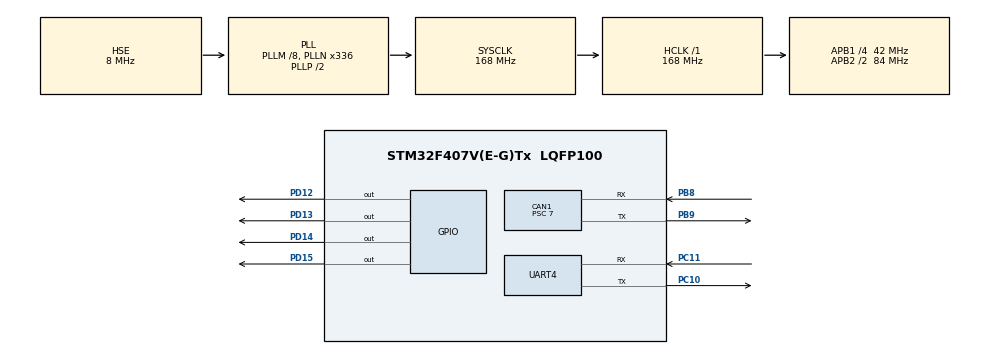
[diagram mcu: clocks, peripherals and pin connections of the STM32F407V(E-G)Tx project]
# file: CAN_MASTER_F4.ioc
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CAN1.BS1=CAN_BS1_2TQ
CAN1.BS2=CAN_BS2_3TQ
CAN1.CalculateBaudRate=999999
CAN1.CalculateTimeBit=1000
CAN1.CalculateTimeQuantum=166.66666666666669
CAN1.Prescaler=7
Mcu.Family=STM32F4
Mcu.Name=STM32F407V(E-G)Tx
Mcu.Package=LQFP100
NVIC.CAN1_RX0_IRQn=true\:0\:0\:false\:false\:true\:true\:true\:true
NVIC.PriorityGroup=NVIC_PRIORITYGROUP_4
NVIC.TIM1_BRK_TIM9_IRQn=true\:0\:0\:false\:false\:true\:true\:true\:true
NVIC.TIM1_UP_TIM10_IRQn=true\:0\:0\:false\:false\:true\:true\:true\:true
NVIC.UART4_IRQn=true\:0\:0\:false\:false\:true\:true\:true\:true
PA0-WKUP.Mode=SYS_WakeUp0
PA0-WKUP.Signal=SYS_WKUP
PA13.Mode=Serial_Wire
PA13.Signal=SYS_JTMS-SWDIO
PA14.Mode=Serial_Wire
PA14.Signal=SYS_JTCK-SWCLK
PB8.Mode=CAN_Activate
PB8.Signal=CAN1_RX
PB9.Mode=CAN_Activate
PB9.Signal=CAN1_TX
PC10.Mode=Asynchronous
PC10.Signal=UART4_TX
PC11.Mode=Asynchronous
PC11.Signal=UART4_RX
PC14-OSC32_IN.Mode=LSE-External-Oscillator
PC14-OSC32_IN.Signal=RCC_OSC32_IN
PC15-OSC32_OUT.Mode=LSE-External-Oscillator
PC15-OSC32_OUT.Signal=RCC_OSC32_OUT
PD12.Signal=GPIO_Output
PD13.Signal=GPIO_Output
PD14.Signal=GPIO_Output
PD15.Signal=GPIO_Output
PH0-OSC_IN.Mode=HSE-External-Oscillator
PH0-OSC_IN.Signal=RCC_OSC_IN
PH1-OSC_OUT.Mode=HSE-External-Oscillator
PH1-OSC_OUT.Signal=RCC_OSC_OUT
ProjectManager.HeapSize=0x200
ProjectManager.StackSize=0x400
ProjectManager.TargetToolchain=STM32CubeIDE
RCC.48MHZClocksFreq_Value=84000000
RCC.AHBFreq_Value=168000000
RCC.APB1CLKDivider=RCC_HCLK_DIV4
RCC.APB1Freq_Value=42000000
RCC.APB1TimFreq_Value=84000000
RCC.APB2CLKDivider=RCC_HCLK_DIV2
RCC.APB2Freq_Value=84000000
RCC.APB2TimFreq_Value=168000000
RCC.CortexFreq_Value=168000000
RCC.HCLKFreq_Value=168000000
RCC.HSE_VALUE=8000000
RCC.HSI_VALUE=16000000
RCC.PLLM=8
RCC.PLLN=336
RCC.PLLSourceVirtual=RCC_PLLSOURCE_HSE
RCC.SYSCLKFreq_VALUE=168000000
RCC.SYSCLKSource=RCC_SYSCLKSOURCE_PLLCLK
RCC.VCOOutputFreq_Value=336000000
TIM1.Period=9999
TIM1.Prescaler=167
UART4.VirtualMode=Asynchronous
VP_TIM1_VS_ClockSourceINT.Mode=Internal
board=custom

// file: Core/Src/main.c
/* USER CODE BEGIN Header */
/**
 ******************************************************************************
 * @file           : main.c
 * @brief          : Main program body
 ******************************************************************************
 * @attention
 *
 * Copyright (c) 2024 STMicroelectronics.
 * All rights reserved.
 *
 * This software is licensed under terms that can be found in the LICENSE file
 * in the root directory of this software component.
 * If no LICENSE file comes with this software, it is provided AS-IS.
 *
 ******************************************************************************
 */
/* USER CODE END Header */
#include "main.h"
#include <stdbool.h>
#include <stdio.h>

CAN_HandleTypeDef hcan1;

TIM_HandleTypeDef htim1;

UART_HandleTypeDef huart4;

/* USER CODE BEGIN PV */

CAN_TxHeaderTypeDef TxHeader;
CAN_RxHeaderTypeDef RxHeader;

struct Parameter_motor
{
	uint8_t name;
	uint8_t data_engine[8];
}motor;

//============CAN INIT
uint8_t TxData[6]; //Master to Slave
uint8_t CanRxData[6]; //Data from slave
uint32_t TxMailBox;

uint8_t count=0;
//============UART INIT

#define DATA_AVAILABLE true;
#define DATA_NOT_AVAILABLE false;

uint8_t Data_UART_Receive[8] ; // +12345af
uint8_t UartData[8];
uint8_t UartDataSaved[8];

uint8_t Length = 0;
bool State_UART = DATA_NOT_AVAILABLE;
bool Check = false;
bool FLAG_RESET = false;

//------------------RECEIVE
#define END_OF_1_ANGLE (5)
#define START_OF_1_ANGLE (1)

//============TIMER1 INIT

uint8_t flag = 0;

//============DATA INIT
uint8_t theta1[6];

//============MOTOR INIT
bool Flag_Motor = false;

/* USER CODE END PV */

void SystemClock_Config(void);
static void MX_GPIO_Init(void);
static void MX_CAN1_Init(void);
static void MX_TIM1_Init(void);
static void MX_UART4_Init(void);

/* USER CODE BEGIN 0 */

void HAL_TIM_PeriodElapsedCallback(TIM_HandleTypeDef *htim)
{
	if(htim->Instance == TIM1)
	{
		flag = 1;
	}
}
void HAL_UART_RxCpltCallback(UART_HandleTypeDef *huart){
	HAL_UART_Receive_IT(&huart4, UartData, 8); //- CHANGED (37)
	if(UartData[7] == 's')//- CHANGED (36)
	{
		State_UART = DATA_AVAILABLE; // true
		HAL_GPIO_TogglePin(GPIOD, GPIO_PIN_14); // Nhay led
		Length = 8; //- CHANGED (37)
	}
	else if(UartData[7] == 'r') // Lenh Reset he thong //- CHANGED (36)
	{
		FLAG_RESET = true;
		HAL_GPIO_TogglePin(GPIOD, GPIO_PIN_14);
	}
	else
	{
		State_UART = DATA_NOT_AVAILABLE;
		for(int i = 0; i < 8; i++)
			UartData[i] = ' ';
	}
}
void HAL_CAN_RxFifo0MsgPendingCallback(CAN_HandleTypeDef *hcan)
{
	if(HAL_CAN_GetRxMessage(&hcan1, CAN_RX_FIFO0, &RxHeader, CanRxData) == HAL_OK)
	{
		HAL_GPIO_TogglePin(GPIOD, GPIO_PIN_14);
		if(RxHeader.StdId == 0x001)
		{
			motor.data_engine[0] = CanRxData[0];  motor.data_engine[1] = CanRxData[1]; motor.data_engine[2] = CanRxData[2];
			motor.data_engine[3] = CanRxData[3];  motor.data_engine[4] = CanRxData[4]; motor.data_engine[5] = CanRxData[5];

			Flag_Motor = true;
		}
	}
}
void Tach_chuoi_UART(uint8_t data_in[], uint8_t len, uint8_t t1[])
{
	//SPLIT STRING
	int position_a = 0;
	for(int i = 0; i < len; i++)
	{
		if(data_in[i] == 'a') position_a = i;
	}
	for(int i = 0; i < position_a; i++)
		t1[i] = data_in[i];
}
void Handles_UART_6_Motor(uint8_t DataEncoder1[], uint8_t BackData[])
{
	for(int i = START_OF_1_ANGLE; i <= END_OF_1_ANGLE; i++) //1-5 : data[4,3,2,1,0]
	{
		//INVERSE TEXT
		char tem[12];
		sprintf(&tem[0], "%d", DataEncoder1[END_OF_1_ANGLE - i]);
		BackData[i] = tem[0];
	}
	// SAVE SIGN OF ANGLE
	BackData[START_OF_1_ANGLE-1] = DataEncoder1[5];
	// SYNTAX OF JOINT
	BackData[END_OF_1_ANGLE+1] = 'a';
	BackData[END_OF_1_ANGLE+2] = 's';
}
/* USER CODE END 0 */

int main(void)
{

	/* MCU Configuration--------------------------------------------------------*/

	/* Reset of all peripherals, Initializes the Flash interface and the Systick. */
	HAL_Init();

	/* Configure the system clock */
	SystemClock_Config();

	/* Initialize all configured peripherals */
	MX_GPIO_Init();
	MX_CAN1_Init();
	MX_TIM1_Init();
	MX_UART4_Init();
	/* USER CODE BEGIN 2 */

	HAL_CAN_Start(&hcan1);
	HAL_CAN_ActivateNotification(&hcan1, CAN_IT_RX_FIFO0_MSG_PENDING);

	HAL_UART_Init(&huart4);
	HAL_UART_Receive_IT(&huart4, UartData, sizeof(UartData));

	HAL_TIM_Base_Start_IT(&htim1);

	/* USER CODE END 2 */

	/* Infinite loop */
	while (1)
	{

		/* USER CODE BEGIN 3 */

		if(flag)
		{
			flag = 0;
			HAL_GPIO_TogglePin(GPIOD, GPIO_PIN_12);
			uint8_t check_length = 0;
			if(State_UART == true)
			{
				check_length = Length;
				Length = 0; // Not Reset - > failed
				for(int i = 0; i <= check_length; i++)
					UartDataSaved[i] = UartData[i];
				State_UART = false;
				Check = true;
				//This function return length
			}
			if(Check == true && FLAG_RESET == false)
			{
				Check = false;
				Tach_chuoi_UART(UartDataSaved, check_length, theta1);
				TxHeader.StdId = 0x001;
				if(HAL_CAN_AddTxMessage(&hcan1, &TxHeader, theta1, &TxMailBox) == HAL_OK)
				{
					HAL_GPIO_TogglePin(GPIOD, GPIO_PIN_13);
				}
			}
			if(Flag_Motor)
			{
				Flag_Motor = false;

				uint8_t Data_Encoder[8];
				Handles_UART_6_Motor(motor.data_engine, Data_Encoder);
				HAL_UART_Transmit(&huart4, Data_Encoder, sizeof(Data_Encoder), 5);
			}
		}
	}
	/* USER CODE END 3 */
}

void SystemClock_Config(void)
{
	RCC_OscInitTypeDef RCC_OscInitStruct = {0};
	RCC_ClkInitTypeDef RCC_ClkInitStruct = {0};

	/** Configure the main internal regulator output voltage
	 */
	__HAL_RCC_PWR_CLK_ENABLE();
	__HAL_PWR_VOLTAGESCALING_CONFIG(PWR_REGULATOR_VOLTAGE_SCALE1);

	/** Initializes the RCC Oscillators according to the specified parameters
	 * in the RCC_OscInitTypeDef structure.
	 */
	RCC_OscInitStruct.OscillatorType = RCC_OSCILLATORTYPE_HSE;
	RCC_OscInitStruct.HSEState = RCC_HSE_ON;
	RCC_OscInitStruct.PLL.PLLState = RCC_PLL_ON;
	RCC_OscInitStruct.PLL.PLLSource = RCC_PLLSOURCE_HSE;
	RCC_OscInitStruct.PLL.PLLM = 8;
	RCC_OscInitStruct.PLL.PLLN = 336;
	RCC_OscInitStruct.PLL.PLLP = RCC_PLLP_DIV2;
	RCC_OscInitStruct.PLL.PLLQ = 4;
	if (HAL_RCC_OscConfig(&RCC_OscInitStruct) != HAL_OK)
	{
		Error_Handler();
	}

	/** Initializes the CPU, AHB and APB buses clocks
	 */
	RCC_ClkInitStruct.ClockType = RCC_CLOCKTYPE_HCLK|RCC_CLOCKTYPE_SYSCLK
			|RCC_CLOCKTYPE_PCLK1|RCC_CLOCKTYPE_PCLK2;
	RCC_ClkInitStruct.SYSCLKSource = RCC_SYSCLKSOURCE_PLLCLK;
	RCC_ClkInitStruct.AHBCLKDivider = RCC_SYSCLK_DIV1;
	RCC_ClkInitStruct.APB1CLKDivider = RCC_HCLK_DIV4;
	RCC_ClkInitStruct.APB2CLKDivider = RCC_HCLK_DIV2;

	if (HAL_RCC_ClockConfig(&RCC_ClkInitStruct, FLASH_LATENCY_5) != HAL_OK)
	{
		Error_Handler();
	}
}

static void MX_CAN1_Init(void)
{

	hcan1.Instance = CAN1;
	hcan1.Init.Prescaler = 7;
	hcan1.Init.Mode = CAN_MODE_NORMAL;
	hcan1.Init.SyncJumpWidth = CAN_SJW_1TQ;
	hcan1.Init.TimeSeg1 = CAN_BS1_2TQ;
	hcan1.Init.TimeSeg2 = CAN_BS2_3TQ;
	hcan1.Init.TimeTriggeredMode = DISABLE;
	hcan1.Init.AutoBusOff = DISABLE;
	hcan1.Init.AutoWakeUp = DISABLE;
	hcan1.Init.AutoRetransmission = DISABLE;
	hcan1.Init.ReceiveFifoLocked = DISABLE;
	hcan1.Init.TransmitFifoPriority = DISABLE;
	if (HAL_CAN_Init(&hcan1) != HAL_OK)
	{
		Error_Handler();
	}
	/* USER CODE BEGIN CAN1_Init 2 */

	CAN_FilterTypeDef canfilterconfig;

	// Configurating CAN Filter
	canfilterconfig.FilterActivation = CAN_FILTER_ENABLE;
	canfilterconfig.FilterBank = 1;
	canfilterconfig.FilterFIFOAssignment = CAN_RX_FIFO0;
	canfilterconfig.FilterIdHigh = 0x000<<5; //0x000
	canfilterconfig.FilterIdLow = 0x0000;
	canfilterconfig.FilterMaskIdHigh = 0x000<<5; //0x000
	canfilterconfig.FilterMaskIdLow = 0x0000;
	canfilterconfig.FilterMode = CAN_FILTERMODE_IDMASK;
	canfilterconfig.FilterScale = CAN_FILTERSCALE_32BIT;
	canfilterconfig.SlaveStartFilterBank = 14;

	//DATA TRANMIT
	TxHeader.DLC = 6;
	TxHeader.IDE = CAN_ID_STD;
	TxHeader.RTR = CAN_RTR_DATA;

	if(HAL_CAN_ConfigFilter(&hcan1, &canfilterconfig) != HAL_OK)
	{
		Error_Handler();
	}
	/* USER CODE END CAN1_Init 2 */

}

static void MX_TIM1_Init(void)
{

	TIM_ClockConfigTypeDef sClockSourceConfig = {0};
	TIM_MasterConfigTypeDef sMasterConfig = {0};

	htim1.Instance = TIM1;
	htim1.Init.Prescaler = 167;
	htim1.Init.CounterMode = TIM_COUNTERMODE_UP;
	htim1.Init.Period = 9999;
	htim1.Init.ClockDivision = TIM_CLOCKDIVISION_DIV1;
	htim1.Init.RepetitionCounter = 0;
	htim1.Init.AutoReloadPreload = TIM_AUTORELOAD_PRELOAD_DISABLE;
	if (HAL_TIM_Base_Init(&htim1) != HAL_OK)
	{
		Error_Handler();
	}
	sClockSourceConfig.ClockSource = TIM_CLOCKSOURCE_INTERNAL;
	if (HAL_TIM_ConfigClockSource(&htim1, &sClockSourceConfig) != HAL_OK)
	{
		Error_Handler();
	}
	sMasterConfig.MasterOutputTrigger = TIM_TRGO_RESET;
	sMasterConfig.MasterSlaveMode = TIM_MASTERSLAVEMODE_DISABLE;
	if (HAL_TIMEx_MasterConfigSynchronization(&htim1, &sMasterConfig) != HAL_OK)
	{
		Error_Handler();
	}

}

static void MX_UART4_Init(void)
{

	huart4.Instance = UART4;
	huart4.Init.BaudRate = 115200;
	huart4.Init.WordLength = UART_WORDLENGTH_8B;
	huart4.Init.StopBits = UART_STOPBITS_1;
	huart4.Init.Parity = UART_PARITY_NONE;
	huart4.Init.Mode = UART_MODE_TX_RX;
	huart4.Init.HwFlowCtl = UART_HWCONTROL_NONE;
	huart4.Init.OverSampling = UART_OVERSAMPLING_16;
	if (HAL_UART_Init(&huart4) != HAL_OK)
	{
		Error_Handler();
	}

}

static void MX_GPIO_Init(void)
{
	GPIO_InitTypeDef GPIO_InitStruct = {0};

	/* GPIO Ports Clock Enable */
	__HAL_RCC_GPIOC_CLK_ENABLE();
	__HAL_RCC_GPIOH_CLK_ENABLE();
	__HAL_RCC_GPIOA_CLK_ENABLE();
	__HAL_RCC_GPIOD_CLK_ENABLE();
	__HAL_RCC_GPIOB_CLK_ENABLE();

	/*Configure GPIO pin Output Level */
	HAL_GPIO_WritePin(GPIOD, GPIO_PIN_12|GPIO_PIN_13|GPIO_PIN_14|GPIO_PIN_15, GPIO_PIN_RESET);

	/*Configure GPIO pins : PD12 PD13 PD14 PD15 */
	GPIO_InitStruct.Pin = GPIO_PIN_12|GPIO_PIN_13|GPIO_PIN_14|GPIO_PIN_15;
	GPIO_InitStruct.Mode = GPIO_MODE_OUTPUT_PP;
	GPIO_InitStruct.Pull = GPIO_NOPULL;
	GPIO_InitStruct.Speed = GPIO_SPEED_FREQ_LOW;
	HAL_GPIO_Init(GPIOD, &GPIO_InitStruct);

}

void Error_Handler(void)
{
	__disable_irq();
	while (1)
	{
	}
}
